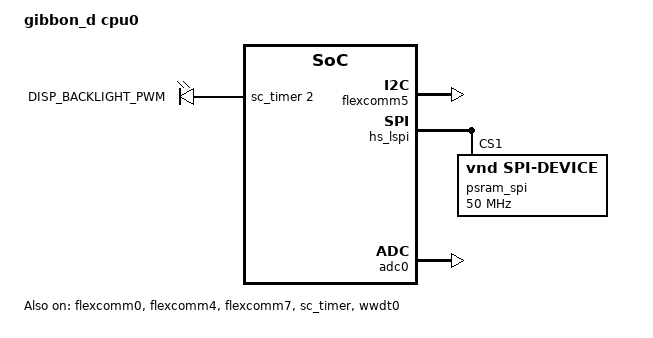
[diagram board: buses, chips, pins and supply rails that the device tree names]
/*
 * Copyright (c) 2019, NXP
 *
 * SPDX-License-Identifier: Apache-2.0
 */

/dts-v1/;

#include <nxp/nxp_lpc55S6x.dtsi>
#include "gibbon_d.dtsi"
#include <zephyr/dt-bindings/pwm/pwm.h>

/ {
	model = "gibbon_d cpu0";
	compatible = "nxp,lpc55xxx", "nxp,lpc";

	aliases{
		spi-1 = &flexcomm1;
	};

	cpus {
		/delete-node/ cpu@1;
	};

	chosen {
		zephyr,sram = &sram0;
		zephyr,flash = &flash0;
		zephyr,code-partition = &app_partition;
		zephyr,code-cpu1-partition = &app_cpu1_partition;
		zephyr,entropy = &rng;
	};

	pwmleds {
		compatible = "pwm-leds";
		display_backlight_pwm: display_backlight_pwm {
			pwms = <&sc_timer 2 PWM_NSEC(500) PWM_POLARITY_NORMAL>;
			label = "DISP_BACKLIGHT_PWM";
			status = "okay";
		};
	};

	ipc0: ipc0 {
		compatible = "te,ipc-ring";
		tx-memory-region = <&sram_ipc0>;
		rx-memory-region = <&sram_ipc1>;
		ipm = <&mailbox0>;
		status = "okay";
	};
};

&sram0 {
	compatible = "mmio-sram";
	reg = <0x20000000 DT_SIZE_K(128)>;
};

&flexcomm0 {
	status = "okay";
};

&flexcomm4 {
	status = "okay";
};

fc3_i2c: &flexcomm5 {
	status = "okay";
};

&flexcomm7 {
	status = "okay";
};

&gpio0 {
	status = "okay";
};

&gpio1 {
	status = "okay";
};

&pint {
    num-lines = <7>;
};

&dma0 {
	/*
	 * The total number of dma channels available is defined by
	 * FSL_FEATURE_DMA_NUMBER_OF_CHANNELS in the SoC features file.
	 * Since memory from the heap pool is allocated based on the number
	 * of DMA channels, set this property to as many channels is needed
	 * for the platform. Adjust HEAP_MEM_POOL_SIZE in case you need more
	 * memory.
	 */
	status = "okay";
};

&hs_lspi
{
	status = "okay";

	psram_spi: psram@1 {
		compatible = "vnd,spi-device";
		reg = <1>; //Use Chip select 1
		spi-max-frequency = <50000000>;
		};
};

&mailbox0 {
	status = "okay";
	/delete-property/ resets;
};

&sc_timer {
	status = "okay";
};

&adc0 {
	status = "okay";
};

&wwdt0 {
	status = "okay";
};
